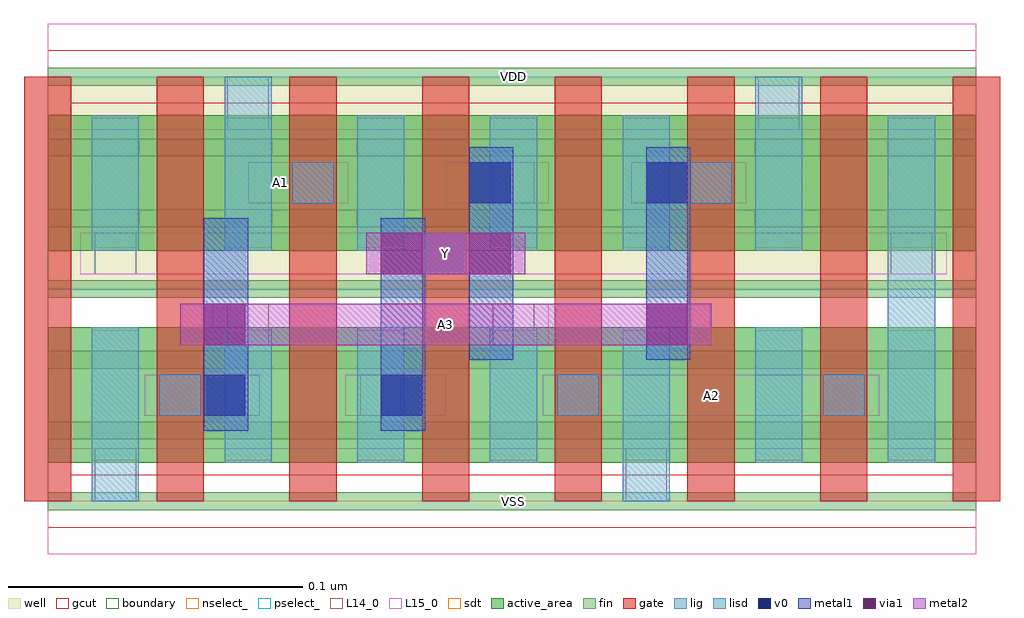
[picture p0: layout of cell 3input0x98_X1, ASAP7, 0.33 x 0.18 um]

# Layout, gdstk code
import gdstk
lib = gdstk.Library(unit=1e-6, precision=1e-09)
def R(c, l, rs):  # rectangles x0, y0, x1, y1
    for r in rs: c.add(gdstk.rectangle(r[:2], r[2:], *l))
def A(c, l, x, y, w, h, nx, ny, dx, dy):  # array of equal rectangles
    R(c, l, [(x+i*dx, y+j*dy, x+i*dx+w, y+j*dy+h) for i in range(nx) for j in range(ny)])
def P(c, l, *ps):  # polygons
    for p in ps: c.add(gdstk.Polygon(p, *l))
well = (1, 0)
fin = (2, 0)
gate = (7, 0)
gcut = (10, 0)
active_area = (11, 0)
nselect_ = (12, 0)
pselect_ = (13, 0)
L14_0 = (14, 0)
L15_0 = (15, 0)
lig = (16, 0)
lisd = (17, 0)
v0 = (18, 0)
metal1 = (19, 0)
metal2 = (20, 0)
via1 = (21, 0)
sdt = (88, 0)
boundary = (100, 0)

c_3input0x98_x1 = lib.new_cell('3input0x98_X1')
R(c_3input0x98_x1, well, [(0,0.072,0.315,0.144)])
A(c_3input0x98_x1, fin, 0, -0.003, 0.315, 0.006, 1, 7, 0, 0.024)
A(c_3input0x98_x1, gate, -0.008, 0, 0.016, 0.144, 8, 1, 0.045, 0)
P(c_3input0x98_x1, gcut, [(0,-0.009),(0,0),(-0.008,0),(-0.008,0.135),(0.008,0.135),(0.008,0.009),(0.307,0.009),(0.307,0.135),(-0.008,0.135),(-0.008,0.144),(0,0.144),(0,0.153),(0.315,0.153),(0.315,0.144),(0.323,0.144),(0.323,0),(0.315,0),(0.315,-0.009)])
R(c_3input0x98_x1, active_area, [(0,0.013,0.315,0.059), (0,0.085,0.315,0.131)])
R(c_3input0x98_x1, nselect_, [(0,0,0.315,0.072)])
R(c_3input0x98_x1, pselect_, [(0,0.072,0.315,0.144)])
R(c_3input0x98_x1, L14_0, [(0.016,0,0.03,0.018), (0.196,0,0.21,0.018), (0.038,0.029,0.052,0.043), (0.106,0.029,0.12,0.043), (0.173,0.029,0.187,0.043), (0.263,0.029,0.277,0.043), (0.061,0.053,0.075,0.067), (0.151,0.053,0.165,0.067), (0.016,0.077,0.03,0.091), (0.128,0.077,0.142,0.091), (0.286,0.077,0.3,0.091), (0.083,0.101,0.097,0.115), (0.151,0.101,0.165,0.115), (0.218,0.101,0.232,0.115), (0.061,0.126,0.075,0.144), (0.241,0.126,0.255,0.144)])
R(c_3input0x98_x1, L15_0, [(0,-0.018,0.315,0.018), (0.033,0.029,0.072,0.043), (0.101,0.029,0.135,0.043), (0.168,0.029,0.282,0.043), (0.056,0.053,0.17,0.067), (0.011,0.077,0.305,0.091), (0.068,0.101,0.102,0.115), (0.135,0.101,0.17,0.115), (0.198,0.101,0.237,0.115), (0,0.126,0.315,0.162)])
R(c_3input0x98_x1, lig, [(0.038,0.029,0.052,0.043), (0.173,0.029,0.187,0.043), (0.263,0.029,0.277,0.043), (0.128,0.077,0.142,0.091), (0.083,0.101,0.097,0.115), (0.218,0.101,0.232,0.115)])
A(c_3input0x98_x1, lisd, 0.06, 0.013, 0.016, 0.046, 3, 1, 0.045, 0)
A(c_3input0x98_x1, lisd, 0.105, 0.085, 0.016, 0.046, 3, 1, 0.045, 0)
R(c_3input0x98_x1, lisd, [(0.015,0,0.031,0.059), (0.195,0,0.211,0.059), (0.24,0.013,0.256,0.059), (0.285,0.013,0.301,0.131), (0.015,0.085,0.031,0.131), (0.06,0.085,0.076,0.144), (0.24,0.085,0.256,0.144)])
R(c_3input0x98_x1, v0, [(0.053,0.029,0.067,0.043), (0.113,0.029,0.127,0.043), (0.143,0.101,0.157,0.115), (0.203,0.101,0.217,0.115)])
R(c_3input0x98_x1, metal1, [(0.053,0.024,0.068,0.096), (0.113,0.024,0.128,0.096), (0.143,0.048,0.158,0.12), (0.203,0.048,0.218,0.12)])
R(c_3input0x98_x1, metal2, [(0.045,0.053,0.225,0.067), (0.108,0.077,0.162,0.091)])
R(c_3input0x98_x1, via1, [(0.053,0.053,0.067,0.067), (0.203,0.053,0.217,0.067), (0.113,0.077,0.127,0.091), (0.143,0.077,0.157,0.091)])
A(c_3input0x98_x1, sdt, 0.015, 0.014, 0.016, 0.044, 7, 2, 0.045, 0.072)
R(c_3input0x98_x1, boundary, [(0,0,0.315,0.144)])
c_3input0x98_x1.add(gdstk.Label('VSS', (0.158,0), layer=15, texttype=251))
c_3input0x98_x1.add(gdstk.Label('VDD', (0.158,0.144), layer=15, texttype=251))
c_3input0x98_x1.add(gdstk.Label('A2', (0.225,0.036), layer=15, texttype=251))
c_3input0x98_x1.add(gdstk.Label('VSS', (0.158,0), layer=15, texttype=251))
c_3input0x98_x1.add(gdstk.Label('VDD', (0.158,0.144), layer=15, texttype=251))
c_3input0x98_x1.add(gdstk.Label('VSS', (0.158,0), layer=15, texttype=251))
c_3input0x98_x1.add(gdstk.Label('VDD', (0.158,0.144), layer=15, texttype=251))
c_3input0x98_x1.add(gdstk.Label('A1', (0.079,0.108), layer=15, texttype=251))
c_3input0x98_x1.add(gdstk.Label('VSS', (0.158,0), layer=15, texttype=251))
c_3input0x98_x1.add(gdstk.Label('VDD', (0.158,0.144), layer=15, texttype=251))
c_3input0x98_x1.add(gdstk.Label('VSS', (0.158,0), layer=3, texttype=251))
c_3input0x98_x1.add(gdstk.Label('VSS', (0.158,0), layer=3, texttype=251))
c_3input0x98_x1.add(gdstk.Label('VSS', (0.158,0), layer=3, texttype=251))
c_3input0x98_x1.add(gdstk.Label('VSS', (0.158,0), layer=3, texttype=251))
c_3input0x98_x1.add(gdstk.Label('VDD', (0.158,0.144), layer=1, texttype=251))
c_3input0x98_x1.add(gdstk.Label('VDD', (0.158,0.144), layer=1, texttype=251))
c_3input0x98_x1.add(gdstk.Label('VDD', (0.158,0.144), layer=1, texttype=251))
c_3input0x98_x1.add(gdstk.Label('VDD', (0.158,0.144), layer=1, texttype=251))
c_3input0x98_x1.add(gdstk.Label('A3', (0.135,0.06), layer=20, texttype=251))
c_3input0x98_x1.add(gdstk.Label('Y', (0.135,0.084), layer=20, texttype=251))

lib.write_gds('3input0x98_X1.gds')
